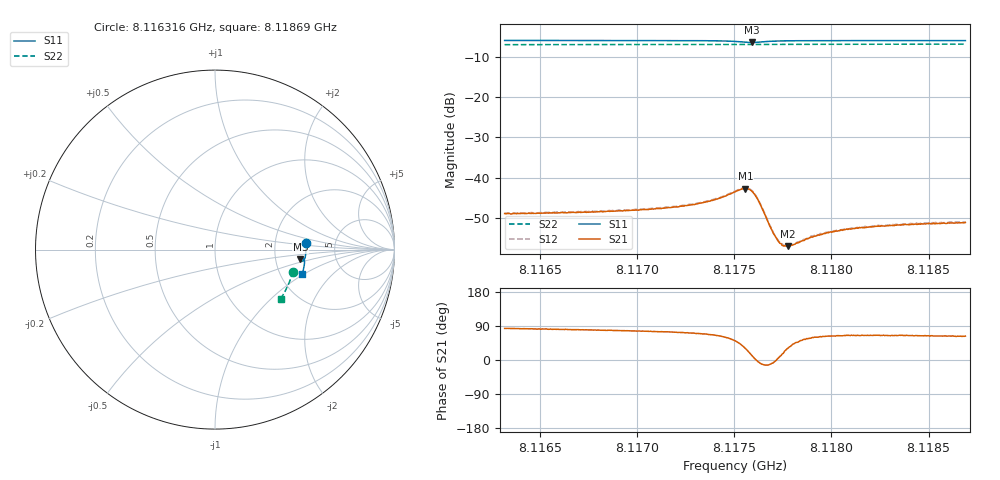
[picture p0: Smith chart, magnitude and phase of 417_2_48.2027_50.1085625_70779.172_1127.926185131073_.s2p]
#  HZ  S  RI  R  50.00
! Rohde & Schwarz Vector Network Analyzer
! Rohde-Schwarz,ZNB20-2Port,1311601062101988,3.16
! Created: UTC 3/20/2024, 11:54:46 AM
! freq[Hz]  re:S11  im:S11  re:S21  im:S21  re:S12  im:S12  re:S22  im:S22
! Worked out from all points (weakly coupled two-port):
!   401 points, 8.116316 GHz to 8.11869 GHz, reference 50 ohm
!   highest |S21| = -42.70 dB at 8.117556 GHz (marker M1); lowest = -57.0 dB at 8.117776 GHz (marker M2)
!   lowest |S11| = -6.4 dB at 8.117592 GHz (marker M3), VSWR 2.83, Z = 139 - j19.1 ohm
!   |S11| at or under -10 dB: nowhere
!   |S22| runs from -6.9 to -6.8 dB; largest |S21 - S12| = 0.0002
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8.116316e9  0.5058 0.0348  0.00041 0.00355  0.000481 0.00359  0.4326 -0.1225
8.1167136e9  0.5064 0.00474  0.000657 0.00365  0.000762 0.00373  0.4252 -0.1492
8.1171112e9  0.5048 -0.0265  0.00108 0.00398  0.00116 0.00406  0.4162 -0.1755
8.1172062e9  0.5039 -0.0346  0.00129 0.00414  0.00132 0.0042  0.4138 -0.1817
8.1173308e9  0.5017 -0.0457  0.00171 0.00452  0.00177 0.0046  0.4105 -0.19
8.1174198e9  0.498 -0.0546  0.00244 0.00495  0.00254 0.00501  0.4079 -0.1956
8.1175029e9  0.4895 -0.063  0.00421 0.00514  0.00434 0.00519  0.4052 -0.2007
8.1175563e9  0.4785 -0.0618  0.00631 0.00372  0.00646 0.00377  0.4034 -0.204
8.1175741e9  0.4758 -0.0582  0.00673 0.00259  0.00686 0.00256  0.4028 -0.2049
8.1175919e9  0.4754 -0.0531  0.00659 0.00126  0.00676 0.00116  0.4023 -0.2056
8.1176097e9  0.4777 -0.0488  0.00587 0.000102  0.00603 6e-05  0.402 -0.2067
8.1176275e9  0.4815 -0.0463  0.0049 -0.000576  0.00502 -0.000599  0.4017 -0.2075
8.1176868e9  0.4929 -0.0496  0.00235 -0.000433  0.00241 -0.000499  0.4004 -0.2116
8.1177165e9  0.4956 -0.0533  0.00176 -1.91e-06  0.00178 -1.03e-05  0.3996 -0.2135
8.1177462e9  0.4973 -0.057  0.00138 0.000395  0.00145 0.000402  0.3988 -0.2154
8.1177759e9  0.4982 -0.0606  0.0012 0.000727  0.00127 0.000743  0.3979 -0.2174
8.1178055e9  0.4987 -0.0639  0.00108 0.000998  0.00111 0.00102  0.397 -0.219
8.1179005e9  0.4986 -0.0734  0.000928 0.00157  0.001 0.00157  0.394 -0.2253
8.1179836e9  0.4979 -0.0807  0.000928 0.00184  0.000993 0.00186  0.3912 -0.2304
8.1180785e9  0.4969 -0.0886  0.000965 0.00209  0.00101 0.00208  0.388 -0.2365
8.1182981e9  0.4936 -0.1057  0.00109 0.00228  0.00108 0.00233  0.3804 -0.2497
8.1186898e9  0.4864 -0.1348  0.00125 0.00247  0.00131 0.0025  0.3655 -0.2729
